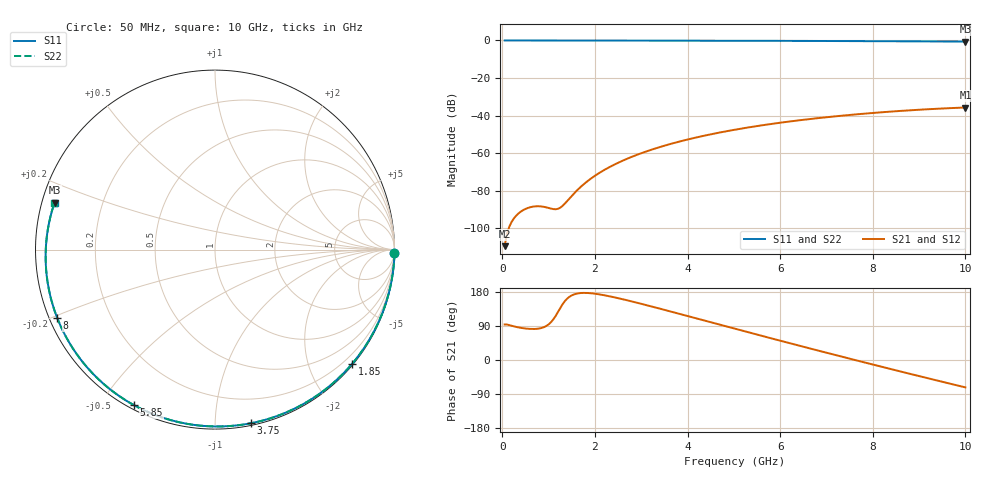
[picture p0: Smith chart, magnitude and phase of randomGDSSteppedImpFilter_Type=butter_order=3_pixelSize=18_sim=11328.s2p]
! freq	dB(S11)	phase(S11)	dB(S12)	phase(S12)
!  dB(S21)	phase(S21)	dB(S22)	phase(S22)
!S-par simulation data
#  GHz  S  DB  R 50
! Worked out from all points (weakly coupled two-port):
!   200 points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, 50 MHz to 10 GHz, reference 50 ohm
!   highest |S21| = -35.73 dB at 10 GHz (marker M1); lowest = -109.6 dB at 50 MHz (marker M2)
!   lowest |S11| = -0.6 dB at 10 GHz (marker M3), VSWR 28.25, Z = 1.81 + j7.17 ohm
!   |S11| at or under -10 dB: nowhere
!   |S22| runs from -0.6 to 0.0 dB; largest |S21 - S12| = 0
!   S11 on the Smith chart (normalised r, x): 50 MHz: open; 1.85 GHz: 0.02, -2.75; 3.75 GHz: 0.02, -1.23; 5.85 GHz: 0.02, -0.61; 8 GHz: 0.02, -0.21; 10 GHz: 0.04, +0.14
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0.05  -0.00 -1.1  -109.62 93.7  -109.62 93.7  -0.00 -1.1
0.4  -0.01 -8.8  -91.21 84.9  -91.21 84.9  -0.01 -8.8
0.8  -0.02 -17.5  -88.36 83.2  -88.36 83.2  -0.02 -17.5
1.6  -0.04 -34.6  -80.22 174.9  -80.22 174.9  -0.04 -34.6
1.75  -0.05 -37.8  -76.79 177.1  -76.79 177.1  -0.05 -37.8
1.85  -0.05 -39.9  -74.79 176.8  -74.79 176.8  -0.05 -39.9
2.15  -0.06 -46.2  -69.77 172.1  -69.77 172.1  -0.06 -46.2
2.5  -0.07 -53.4  -65.19 163.2  -65.19 163.2  -0.07 -53.4
2.9  -0.08 -61.5  -61.01 151.4  -61.01 151.4  -0.08 -61.5
3.4  -0.09 -71.5  -56.82 135.6  -56.82 135.6  -0.09 -71.5
3.75  -0.11 -78.3  -54.36 124.2  -54.36 124.2  -0.11 -78.3
4.4  -0.13 -90.8  -50.54 103.0  -50.54 103.0  -0.13 -90.8
5.05  -0.16 -102.9  -47.44 81.7  -47.44 81.7  -0.16 -102.9
5.85  -0.20 -117.6  -44.35 55.8  -44.35 55.8  -0.20 -117.5
6.7  -0.26 -132.9  -41.71 28.7  -41.71 28.7  -0.26 -132.9
7.35  -0.31 -144.7  -40.05 8.2  -40.05 8.2  -0.31 -144.6
8  -0.37 -156.6  -38.64 -11.9  -38.64 -11.9  -0.37 -156.6
8.35  -0.41 -163.2  -37.97 -22.7  -37.97 -22.7  -0.41 -163.1
8.8  -0.46 -171.8  -37.22 -36.4  -37.22 -36.4  -0.46 -171.8
9.2  -0.51 -179.7  -36.64 -48.5  -36.64 -48.5  -0.51 -179.6
9.6  -0.56 172.1  -36.14 -60.4  -36.14 -60.4  -0.56 172.2
10  -0.62 163.6  -35.73 -72.2  -35.73 -72.2  -0.62 163.7
